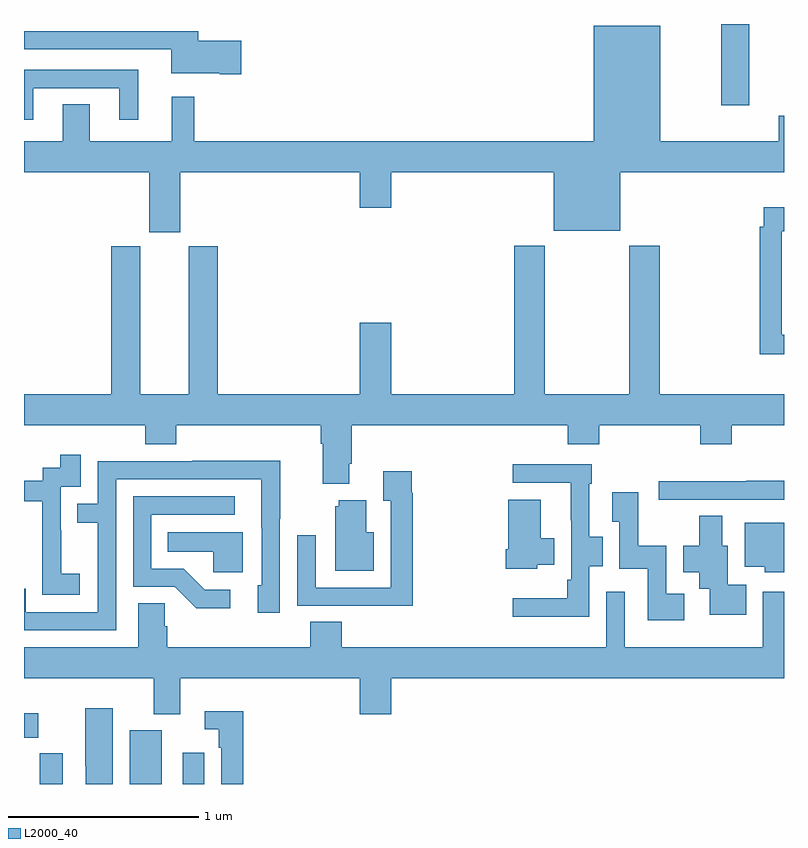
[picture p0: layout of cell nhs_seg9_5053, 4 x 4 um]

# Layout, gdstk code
import gdstk
lib = gdstk.Library(unit=1e-6, precision=1e-09)
def R(c, l, rs):  # rectangles x0, y0, x1, y1
    for r in rs: c.add(gdstk.rectangle(r[:2], r[2:], *l))
def P(c, l, *ps):  # polygons
    for p in ps: c.add(gdstk.Polygon(p, *l))
L2000_40 = (2000, 40)

nhs_seg9_5053 = lib.new_cell('nhs_seg9_5053')
R(nhs_seg9_5053, L2000_40, [(403.082,1226.5,403.204,1226.663), (403.556,1226.5,403.726,1226.782), (403.836,1226.5,403.948,1226.665), (403,1226.744,403.076,1226.872), (406.669,1230.072,406.818,1230.5)])
P(nhs_seg9_5053, L2000_40, [(403.822,1229.72),(404.768,1229.72),(404.768,1229.532),(404.932,1229.532),(404.932,1229.72),(405.788,1229.72),(405.788,1229.411),(406.138,1229.411),(406.138,1229.72),(407,1229.72),(407,1230.017),(406.973,1230.017),(406.973,1229.884),(406.348,1229.884),(406.348,1230.49),(405.998,1230.49),(405.998,1229.884),(403.895,1229.884),(403.895,1230.118),(403.778,1230.118),(403.778,1229.884),(403.345,1229.884),(403.345,1230.077),(403.205,1230.077),(403.205,1229.884),(403,1229.884),(403,1229.72),(403.658,1229.72),(403.658,1229.403),(403.822,1229.403)],
  [(404.143,1230.413),(403.918,1230.413),(403.918,1230.463),(403,1230.463),(403,1230.366),(403.775,1230.366),(403.775,1230.242),(404.03,1230.242),(404.03,1230.235),(404.143,1230.235)],
  [(403.048,1230.162),(403.502,1230.162),(403.502,1229.997),(403.601,1229.997),(403.601,1230.258),(403,1230.258),(403,1229.997),(403.048,1229.997)],
  [(407,1228.864),(406.989,1228.864),(406.989,1229.408),(407,1229.408),(407,1229.536),(406.893,1229.536),(406.893,1229.432),(406.873,1229.432),(406.873,1228.763),(407,1228.763)],
  [(404.713,1228.186),(404.726,1228.186),(404.726,1228.388),(405.863,1228.388),(405.863,1228.289),(406.028,1228.289),(406.028,1228.388),(406.559,1228.388),(406.559,1228.289),(406.724,1228.289),(406.724,1228.388),(407,1228.388),(407,1228.552),(406.346,1228.552),(406.346,1229.332),(406.186,1229.332),(406.186,1228.552),(405.741,1228.552),(405.741,1229.332),(405.581,1229.332),(405.581,1228.552),(404.932,1228.552),(404.932,1228.927),(404.768,1228.927),(404.768,1228.552),(404.021,1228.552),(404.021,1229.331),(403.868,1229.331),(403.868,1228.552),(403.612,1228.552),(403.612,1229.331),(403.46,1229.331),(403.46,1228.552),(403,1228.552),(403,1228.388),(403.637,1228.388),(403.637,1228.289),(403.802,1228.289),(403.802,1228.388),(404.561,1228.388),(404.561,1228.292),(404.573,1228.292),(404.573,1228.079),(404.713,1228.079)],
  [(403.294,1227.607),(403.196,1227.607),(403.196,1227.836),(403.194,1227.836),(403.194,1228.065),(403.299,1228.065),(403.299,1228.234),(403.191,1228.234),(403.191,1228.164),(403.098,1228.164),(403.098,1228.095),(403,1228.095),(403,1227.999),(403.001,1227.999),(403.001,1227.987),(403.097,1227.987),(403.097,1227.703),(403.096,1227.703),(403.096,1227.497),(403.294,1227.497)],
  [(403.485,1228.104),(404.249,1228.104),(404.249,1227.85),(404.25,1227.85),(404.25,1227.546),(404.231,1227.546),(404.231,1227.402),(404.346,1227.402),(404.346,1227.895),(404.349,1227.895),(404.349,1228.202),(403.885,1228.202),(403.885,1228.2),(403.389,1228.2),(403.389,1227.975),(403.279,1227.975),(403.279,1227.874),(403.389,1227.874),(403.389,1227.405),(403.008,1227.405),(403.008,1227.528),(403,1227.528),(403,1227.309),(403.485,1227.309)],
  [(405.975,1227.646),(406.045,1227.646),(406.045,1227.801),(405.975,1227.801),(405.975,1228.079),(405.988,1228.079),(405.988,1228.182),(405.573,1228.182),(405.573,1228.086),(405.878,1228.086),(405.878,1227.889),(405.879,1227.889),(405.879,1227.574),(405.859,1227.574),(405.859,1227.478),(405.573,1227.478),(405.573,1227.38),(405.975,1227.38)],
  [(405.047,1228.034),(405.04,1228.034),(405.04,1228.147),(404.891,1228.147),(404.891,1227.991),(404.931,1227.991),(404.931,1227.534),(404.535,1227.534),(404.535,1227.808),(404.439,1227.808),(404.439,1227.438),(404.755,1227.438),(404.755,1227.437),(405.047,1227.437)],
  [(407,1228.097),(406.801,1228.097),(406.801,1228.094),(406.341,1228.094),(406.341,1227.996),(407,1227.996)],
  [(406.474,1227.502),(406.38,1227.502),(406.38,1227.754),(406.233,1227.754),(406.233,1228.036),(406.097,1228.036),(406.097,1227.88),(406.134,1227.88),(406.134,1227.632),(406.284,1227.632),(406.284,1227.362),(406.474,1227.362)],
  [(404.086,1227.522),(403.951,1227.522),(403.84,1227.633),(403.671,1227.633),(403.671,1227.918),(404.11,1227.918),(404.11,1228.014),(403.575,1228.014),(403.575,1227.537),(403.794,1227.537),(403.907,1227.425),(404.086,1227.425)],
  [(405.702,1227.653),(405.79,1227.653),(405.79,1227.793),(405.721,1227.793),(405.721,1227.997),(405.548,1227.997),(405.548,1227.736),(405.536,1227.736),(405.536,1227.632),(405.702,1227.632)],
  [(404.842,1227.826),(404.8,1227.826),(404.8,1227.994),(404.657,1227.994),(404.657,1227.963),(404.639,1227.963),(404.639,1227.623),(404.842,1227.623)],
  [(406.802,1227.55),(406.705,1227.55),(406.705,1227.754),(406.675,1227.754),(406.675,1227.911),(406.553,1227.911),(406.553,1227.754),(406.469,1227.754),(406.469,1227.614),(406.553,1227.614),(406.553,1227.527),(406.608,1227.527),(406.608,1227.392),(406.802,1227.392)],
  [(407,1227.874),(406.793,1227.874),(406.793,1227.644),(406.898,1227.644),(406.898,1227.614),(407,1227.614)],
  [(404.152,1227.826),(403.756,1227.826),(403.756,1227.722),(403.995,1227.722),(403.995,1227.614),(404.152,1227.614)],
  [(403.822,1227.056),(404.768,1227.056),(404.768,1226.868),(404.932,1226.868),(404.932,1227.056),(407,1227.056),(407,1227.511),(406.887,1227.511),(406.887,1227.22),(406.161,1227.22),(406.161,1227.511),(406.065,1227.511),(406.065,1227.22),(404.672,1227.22),(404.672,1227.353),(404.507,1227.353),(404.507,1227.22),(403.754,1227.22),(403.754,1227.329),(403.74,1227.329),(403.74,1227.452),(403.601,1227.452),(403.601,1227.22),(403,1227.22),(403,1227.056),(403.682,1227.056),(403.682,1226.867),(403.822,1226.867)],
  [(403.468,1226.899),(403.322,1226.899),(403.322,1226.596),(403.326,1226.596),(403.326,1226.5),(403.468,1226.5)],
  [(404.153,1226.884),(403.95,1226.884),(403.95,1226.787),(404.025,1226.787),(404.025,1226.69),(404.037,1226.69),(404.037,1226.5),(404.153,1226.5)])

lib.write_gds('nhs_seg9_5053.gds')
